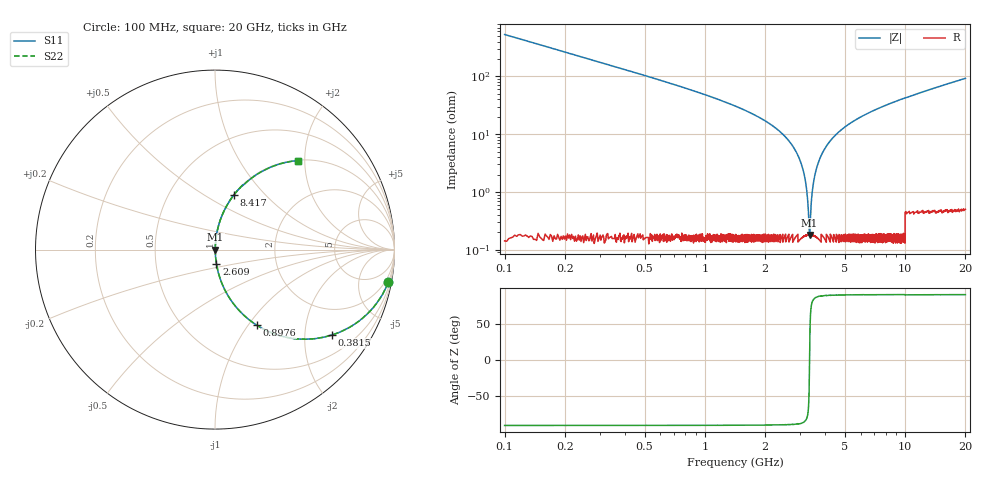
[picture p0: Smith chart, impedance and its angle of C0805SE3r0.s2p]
! AVX Thin Film Operation		Date: April 2012
! Description: Accu-P® Series, Thin Film, SMD, RF Capacitor
! Part Number: 08051J3R0QBTTR
!	100	MHz	-	20.05	GHz
!	Serial	Measurements
#	MHZ	S	MA	R	50
!	S11	S21	S12	S22
!	dB	Phase	dB	Phase	dB	Phase	dB	Phase
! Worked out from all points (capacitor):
!   4210 points, 100 MHz to 20 GHz, reference 50 ohm
!   read as one part in series: C = 3 pF near 151.9 MHz
!   lowest |Z| = 180 mohm at 3.333 GHz (marker M1)
!   series resonance near 3.333 GHz, so ESL is about 760 pH
!   S11 on the Smith chart (normalised r, x): 100 MHz: 1, -11; 381.5 MHz: 1.00, -2.75; 897.6 MHz: 1.00, -1.10; 2.609 GHz: 1.00, -0.16; 8.417 GHz: 1.00, +0.68; 20 GHz: 1.01, +1.85
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100  0.983 -10.7  0.185 79.3  0.185 79.3  0.983 -10.7
233.35  0.914 -23.8  0.404 66.1  0.404 66.1  0.914 -23.8
381.517  0.808 -36.1  0.589 53.9  0.589 53.9  0.808 -36.1
897.63  0.48 -61.1  0.876 28.7  0.876 28.7  0.48 -61.1
1517.461  0.267 -74.2  0.962 15.5  0.962 15.5  0.267 -74.2
2608.955  0.078 -84.3  0.995 4.5  0.995 4.5  0.078 -84.3
3102.844  0.023 -84.7  0.998 1.3  0.998 1.3  0.023 -84.7
3213.969  0.012 -81.5  0.998 0.7  0.998 0.7  0.012 -81.5
3300.399  0.00349 -62.6  0.998 0.2  0.998 0.2  0.00349 -62.6
3332.502  0.0016 -0.8  0.998 0.0  0.998 0.0  0.0016 -0.8
3367.074  0.00363 63.7  0.998 -0.2  0.998 -0.2  0.00363 63.7
3418.932  0.00827 78.4  0.998 -0.5  0.998 -0.5  0.00827 78.4
3517.71  0.017 83.7  0.998 -1.0  0.998 -1.0  0.017 83.7
3675.755  0.031 85.3  0.998 -1.8  0.998 -1.8  0.031 85.3
4221.502  0.076 84.5  0.996 -4.3  0.996 -4.3  0.076 84.5
5174.707  0.143 81.1  0.988 -8.2  0.988 -8.2  0.143 81.1
6735.395  0.236 76.0  0.97 -13.6  0.97 -13.6  0.236 76.0
8417.087  0.321 71.0  0.946 -18.7  0.946 -18.7  0.321 71.0
10050  0.389 66.5  0.917 -22.9  0.917 -22.9  0.389 66.5
13400  0.511 58.8  0.856 -30.7  0.856 -30.7  0.511 58.8
16700  0.604 52.5  0.793 -37.2  0.793 -37.2  0.604 52.5
20000  0.677 47.1  0.732 -42.6  0.732 -42.6  0.677 47.1
